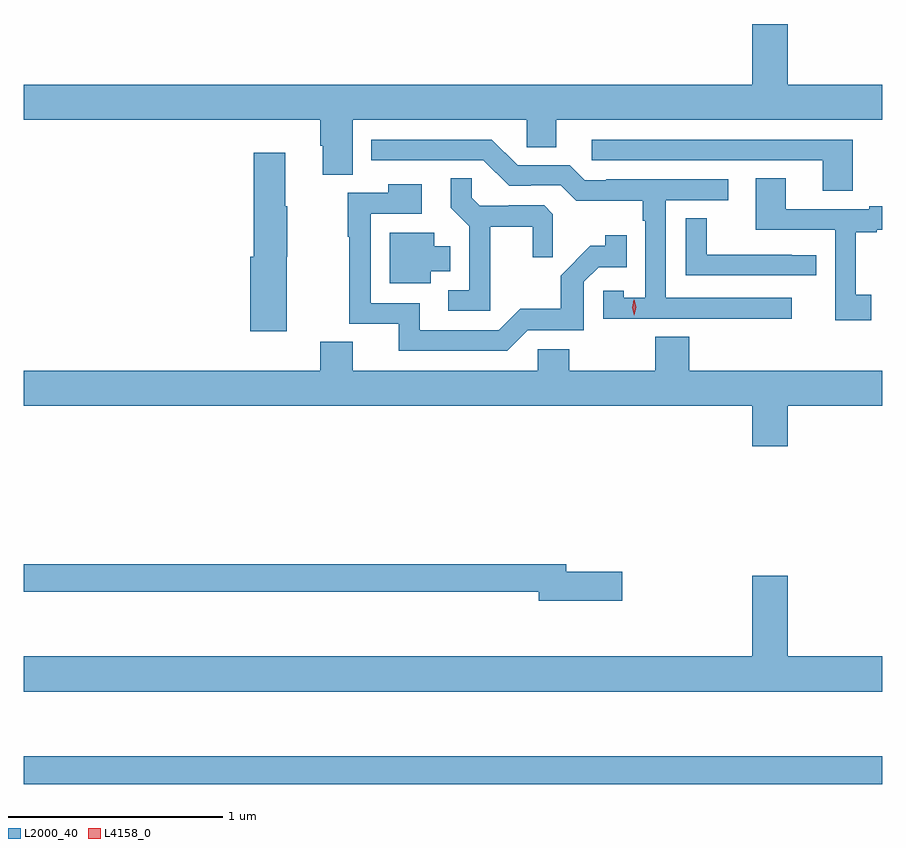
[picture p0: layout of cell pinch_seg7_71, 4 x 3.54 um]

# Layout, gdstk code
import gdstk
lib = gdstk.Library(unit=1e-6, precision=1e-09)
def R(c, l, rs):  # rectangles x0, y0, x1, y1
    for r in rs: c.add(gdstk.rectangle(r[:2], r[2:], *l))
def P(c, l, *ps):  # polygons
    for p in ps: c.add(gdstk.Polygon(p, *l))
L2000_40 = (2000, 40)
L4158_0 = (4158, 0)

pinch_seg7_71 = lib.new_cell('pinch_seg7_71')
R(pinch_seg7_71, L2000_40, [(952.821,1076.11,956.821,1076.239)])
P(pinch_seg7_71, L2000_40, [(954.355,1079.204),(955.164,1079.204),(955.164,1079.077),(955.303,1079.077),(955.303,1079.204),(956.821,1079.204),(956.821,1079.368),(956.38,1079.368),(956.38,1079.65),(956.216,1079.65),(956.216,1079.368),(952.821,1079.368),(952.821,1079.204),(954.203,1079.204),(954.203,1079.082),(954.215,1079.082),(954.215,1078.948),(954.355,1078.948)],
  [(956.398,1078.374),(955.812,1078.374),(955.812,1078.83),(956.104,1078.83),(956.104,1078.926),(955.534,1078.926),(955.534,1078.923),(955.434,1078.923),(955.365,1078.992),(955.122,1078.992),(955.002,1079.112),(954.44,1079.112),(954.44,1079.016),(954.963,1079.016),(955.083,1078.896),(955.184,1078.896),(955.184,1078.899),(955.323,1078.899),(955.396,1078.826),(955.704,1078.826),(955.704,1078.733),(955.716,1078.733),(955.716,1078.375),(955.617,1078.375),(955.617,1078.407),(955.521,1078.407),(955.521,1078.278),(956.005,1078.278),(956.005,1078.276),(956.398,1078.276)],
  [(956.683,1079.112),(955.467,1079.112),(955.467,1079.016),(956.543,1079.016),(956.543,1078.873),(956.683,1078.873)],
  [(954.046,1078.566),(954.048,1078.566),(954.048,1078.802),(954.04,1078.802),(954.04,1079.05),(953.894,1079.05),(953.894,1078.566),(953.876,1078.566),(953.876,1078.218),(954.046,1078.218)],
  [(954.995,1078.706),(955.192,1078.706),(955.192,1078.563),(955.286,1078.563),(955.286,1078.765),(955.245,1078.806),(955.08,1078.806),(955.08,1078.803),(954.946,1078.803),(954.909,1078.84),(954.909,1078.931),(954.811,1078.931),(954.811,1078.795),(954.897,1078.709),(954.897,1078.41),(954.798,1078.41),(954.798,1078.314),(954.995,1078.314)],
  [(956.77,1078.389),(956.698,1078.389),(956.698,1078.68),(956.794,1078.68),(956.794,1078.692),(956.821,1078.692),(956.821,1078.801),(956.759,1078.801),(956.759,1078.788),(956.371,1078.788),(956.371,1078.931),(956.231,1078.931),(956.231,1078.692),(956.601,1078.692),(956.601,1078.269),(956.77,1078.269)],
  [(955.17,1078.224),(955.431,1078.224),(955.431,1078.449),(955.5,1078.518),(955.631,1078.518),(955.631,1078.666),(955.53,1078.666),(955.53,1078.616),(955.46,1078.616),(955.323,1078.478),(955.323,1078.323),(955.134,1078.323),(955.035,1078.224),(954.667,1078.224),(954.667,1078.35),(954.438,1078.35),(954.438,1078.767),(954.676,1078.767),(954.676,1078.903),(954.52,1078.903),(954.52,1078.863),(954.33,1078.863),(954.33,1078.66),(954.337,1078.66),(954.337,1078.254),(954.569,1078.254),(954.569,1078.128),(955.074,1078.128)],
  [(956.512,1078.574),(956.399,1078.574),(956.399,1078.575),(956.004,1078.575),(956.004,1078.745),(955.905,1078.745),(955.905,1078.479),(956.512,1078.479)],
  [(954.718,1078.499),(954.808,1078.499),(954.808,1078.615),(954.733,1078.615),(954.733,1078.678),(954.527,1078.678),(954.527,1078.442),(954.718,1078.442)],
  [(955.762,1078.193),(955.762,1078.036),(955.362,1078.036),(955.362,1078.134),(955.215,1078.134),(955.215,1078.036),(954.355,1078.036),(954.355,1078.169),(954.203,1078.169),(954.203,1078.036),(952.821,1078.036),(952.821,1077.872),(956.216,1077.872),(956.216,1077.684),(956.38,1077.684),(956.38,1077.872),(956.821,1077.872),(956.821,1078.036),(955.922,1078.036),(955.922,1078.193)],
  [(955.609,1077.098),(955.348,1077.098),(955.348,1077.134),(952.821,1077.134),(952.821,1077.006),(955.22,1077.006),(955.22,1076.963),(955.609,1076.963)],
  [(956.821,1076.704),(956.38,1076.704),(956.38,1077.079),(956.216,1077.079),(956.216,1076.704),(952.821,1076.704),(952.821,1076.54),(956.821,1076.54)])
P(pinch_seg7_71, L4158_0, [(955.666,1078.293),(955.666,1078.293),(955.655,1078.329),(955.664,1078.365),(955.665,1078.366),(955.665,1078.365),(955.675,1078.33),(955.666,1078.293)])

lib.write_gds('pinch_seg7_71.gds')
